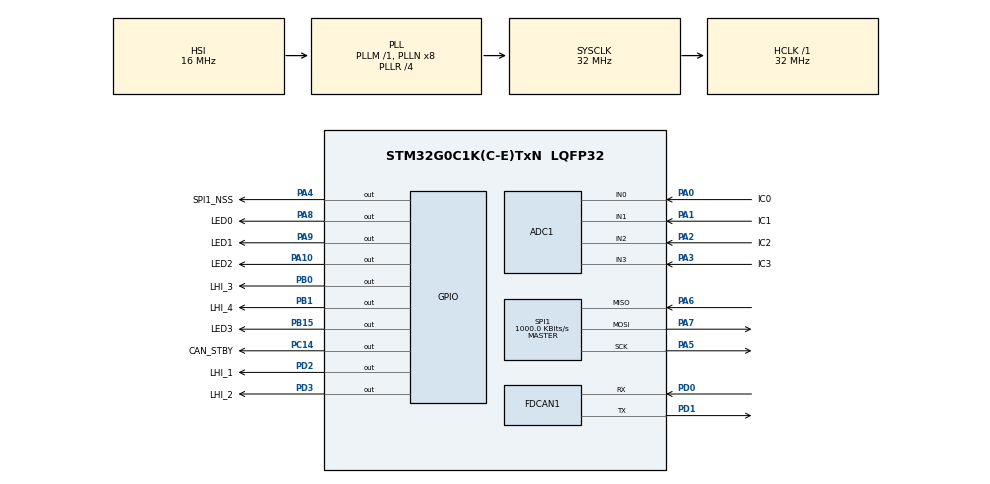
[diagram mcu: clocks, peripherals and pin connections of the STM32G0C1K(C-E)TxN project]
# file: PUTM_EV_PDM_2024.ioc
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ADC1.Channel-0\#ChannelRegularConversion=ADC_CHANNEL_0
ADC1.Channel-1\#ChannelRegularConversion=ADC_CHANNEL_1
ADC1.Channel-2\#ChannelRegularConversion=ADC_CHANNEL_2
ADC1.Channel-3\#ChannelRegularConversion=ADC_CHANNEL_3
ADC1.ClockPrescaler=ADC_CLOCK_ASYNC_DIV8
ADC1.ContinuousConvMode=ENABLE
ADC1.DMAContinuousRequests=ENABLE
ADC1.NbrOfConversion=4
ADC1.NbrOfConversionFlag=1
ADC1.Rank-0\#ChannelRegularConversion=1
ADC1.Rank-1\#ChannelRegularConversion=2
ADC1.Rank-2\#ChannelRegularConversion=3
ADC1.Rank-3\#ChannelRegularConversion=4
ADC1.SamplingTime-0\#ChannelRegularConversion=ADC_SAMPLINGTIME_COMMON_1
ADC1.SamplingTime-1\#ChannelRegularConversion=ADC_SAMPLINGTIME_COMMON_1
ADC1.SamplingTime-2\#ChannelRegularConversion=ADC_SAMPLINGTIME_COMMON_1
ADC1.SamplingTime-3\#ChannelRegularConversion=ADC_SAMPLINGTIME_COMMON_1
ADC1.SamplingTimeCommon1=ADC_SAMPLETIME_79CYCLES_5
ADC1.SamplingTimeCommon2=ADC_SAMPLETIME_19CYCLES_5
ADC1.SelectedChannel=ADC_CHANNEL_0|ADC_CHANNEL_1|ADC_CHANNEL_2|ADC_CHANNEL_3
ADC1.master=1
Dma.ADC1.0.Direction=DMA_PERIPH_TO_MEMORY
Dma.ADC1.0.EventEnable=DISABLE
Dma.ADC1.0.Instance=DMA1_Channel1
Dma.ADC1.0.MemDataAlignment=DMA_MDATAALIGN_HALFWORD
Dma.ADC1.0.MemInc=DMA_MINC_ENABLE
Dma.ADC1.0.Mode=DMA_CIRCULAR
Dma.ADC1.0.PeriphDataAlignment=DMA_PDATAALIGN_HALFWORD
Dma.ADC1.0.PeriphInc=DMA_PINC_DISABLE
Dma.ADC1.0.Polarity=HAL_DMAMUX_REQ_GEN_RISING
Dma.ADC1.0.Priority=DMA_PRIORITY_LOW
Dma.ADC1.0.RequestNumber=1
Dma.ADC1.0.SignalID=NONE
Dma.ADC1.0.SyncEnable=DISABLE
Dma.ADC1.0.SyncPolarity=HAL_DMAMUX_SYNC_NO_EVENT
Dma.ADC1.0.SyncRequestNumber=1
Dma.ADC1.0.SyncSignalID=NONE
Dma.Request0=ADC1
FDCAN1.CalculateBaudRateNominal=1000000
FDCAN1.CalculateTimeBitNominal=1000
FDCAN1.CalculateTimeQuantumNominal=62.5
FDCAN1.NominalPrescaler=2
FDCAN1.NominalTimeSeg1=11
FDCAN1.NominalTimeSeg2=4
Mcu.Family=STM32G0
Mcu.Name=STM32G0C1K(C-E)TxN
Mcu.Package=LQFP32
NVIC.DMA1_Channel1_IRQn=true\:0\:0\:false\:false\:true\:false\:true\:true
NVIC.TIM16_FDCAN_IT0_IRQn=true\:0\:0\:false\:false\:true\:true\:true\:true
NVIC.TIM17_FDCAN_IT1_IRQn=true\:0\:0\:false\:false\:true\:true\:true\:true
NVIC.TIM1_BRK_UP_TRG_COM_IRQn=true\:3\:0\:false\:false\:true\:false\:true\:true
NVIC.TimeBase=TIM1_BRK_UP_TRG_COM_IRQn
NVIC.TimeBaseIP=TIM1
PA0.GPIO_Label=IC0
PA0.Mode=IN0
PA0.Signal=ADC1_IN0
PA1.GPIO_Label=IC1
PA1.Mode=IN1
PA1.Signal=ADC1_IN1
PA10.GPIO_Label=LED2
PA10.Signal=GPIO_Output
PA13.Mode=Serial_Wire
PA13.Signal=SYS_SWDIO
PA14-BOOT0.Mode=Serial_Wire
PA14-BOOT0.Signal=SYS_SWCLK
PA2.GPIO_Label=IC2
PA2.Mode=IN2
PA2.Signal=ADC1_IN2
PA3.GPIO_Label=IC3
PA3.Mode=IN3
PA3.Signal=ADC1_IN3
PA4.GPIO_Label=SPI1_NSS
PA4.PinState=GPIO_PIN_SET
PA4.Signal=GPIO_Output
PA5.Mode=Full_Duplex_Master
PA5.Signal=SPI1_SCK
PA6.Mode=Full_Duplex_Master
PA6.Signal=SPI1_MISO
PA7.Mode=Full_Duplex_Master
PA7.Signal=SPI1_MOSI
PA8.GPIO_Label=LED0
PA8.Signal=GPIO_Output
PA9.GPIO_Label=LED1
PA9.Signal=GPIO_Output
PB0.GPIO_Label=LHI_3
PB0.Signal=GPIO_Output
PB1.GPIO_Label=LHI_4
PB1.Signal=GPIO_Output
PB15.GPIO_Label=LED3
PB15.Signal=GPIO_Output
PC14-OSC32_IN\ (PC14).GPIO_Label=CAN_STBY
PC14-OSC32_IN\ (PC14).PinState=GPIO_PIN_RESET
PC14-OSC32_IN\ (PC14).Signal=GPIO_Output
PD0.GPIO_Speed=GPIO_SPEED_FREQ_VERY_HIGH
PD0.Mode=FDCAN_Activate
PD0.PinState=GPIO_PIN_RESET
PD0.Signal=FDCAN1_RX
PD1.GPIO_Speed=GPIO_SPEED_FREQ_VERY_HIGH
PD1.Mode=FDCAN_Activate
PD1.Signal=FDCAN1_TX
PD2.GPIO_Label=LHI_1
PD2.Signal=GPIO_Output
PD3.GPIO_Label=LHI_2
PD3.Signal=GPIO_Output
ProjectManager.HeapSize=0x200
ProjectManager.StackSize=0x400
ProjectManager.TargetToolchain=CMake
RCC.ADCFreq_Value=32000000
RCC.AHBFreq_Value=32000000
RCC.CortexFreq_Value=32000000
RCC.EXTERNAL_CLOCK_VALUE=48000
RCC.HCLKFreq_Value=32000000
RCC.HSE_VALUE=8000000
RCC.HSI48_VALUE=48000000
RCC.HSI_VALUE=16000000
RCC.LSE_VALUE=32768
RCC.PLLP=RCC_PLLP_DIV4
RCC.PLLR=RCC_PLLR_DIV4
RCC.SYSCLKFreq_VALUE=32000000
RCC.SYSCLKSource=RCC_SYSCLKSOURCE_PLLCLK
RCC.USBFreq_Value=48000000
RCC.VCOOutputFreq_Value=128000000
SPI1.BaudRatePrescaler=SPI_BAUDRATEPRESCALER_32
SPI1.CLKPhase=SPI_PHASE_2EDGE
SPI1.CalculateBaudRate=1000.0 KBits/s
SPI1.DataSize=SPI_DATASIZE_8BIT
SPI1.Direction=SPI_DIRECTION_2LINES
SPI1.Mode=SPI_MODE_MASTER
SPI1.VirtualType=VM_MASTER
VP_SYS_VS_DBSignals.Mode=DisableDeadBatterySignals
VP_SYS_VS_tim1.Mode=TIM1
board=custom

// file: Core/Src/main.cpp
/* USER CODE BEGIN Header */
/**
 ******************************************************************************
 * @file           : main.c
 * @brief          : Main program body
 ******************************************************************************
 * @attention
 *
 * Copyright (c) 2024 STMicroelectronics.
 * All rights reserved.
 *
 * This software is licensed under terms that can be found in the LICENSE file
 * in the root directory of this software component.
 * If no LICENSE file comes with this software, it is provided AS-IS.
 *
 ******************************************************************************
 */

/* USER CODE END Header */
#include "main.h"
#include "adc.h"
#include "dma.h"
#include "fdcan.h"
#include "gpio.h"
#include "spi.h"

/* USER CODE BEGIN Includes */
#include "BTS72220.hpp"
#include "PUTM_CAN_M.h"
#include "can_driver.hpp"
#include "pdu.hpp"

#include <algorithm>
#include <array>
#include <span>

/* USER CODE END Includes */

/* USER CODE BEGIN PD */
constexpr uint8_t ADC_BUF_SIZE{4};
constexpr uint32_t __VREFANALOG_VOLTAGE__{3300};

/* USER CODE END PD */

/* USER CODE BEGIN PV */

std::array<uint16_t, ADC_BUF_SIZE>
adc_to_mV(std::span<volatile uint16_t, ADC_BUF_SIZE> adc_buffer) {
  std::array<uint16_t, ADC_BUF_SIZE> U_mV{};
  for (size_t ic{}; ic < ADC_BUF_SIZE; ic++) {
    U_mV.at(ic) = __HAL_ADC_CALC_DATA_TO_VOLTAGE(
        __VREFANALOG_VOLTAGE__, adc_buffer[ic], ADC_RESOLUTION12b);
  }
  return U_mV;
}

volatile bool rtd_status{};

volatile Temperature::Values inv_temperature_values{};
volatile Temperature::Values motor_temperature_values{};

/* USER CODE END PV */

/* Private function prototypes
 * -----------------------------------------------*/
void SystemClock_Config(void);

/* Private user code
 * ---------------------------------------------------------*/

int main(void) {

  /* MCU
   * Configuration--------------------------------------------------------*/

  /* Reset of all peripherals, Initializes the Flash interface and the
   * Systick.
   */
  HAL_Init();

  /* Configure the system clock */
  SystemClock_Config();

  /* Initialize all configured peripherals */
  MX_GPIO_Init();
  MX_DMA_Init();
  MX_ADC1_Init();
  MX_FDCAN1_Init();
  MX_SPI1_Init();
  /* USER CODE BEGIN 2 */

  putm_ev_can::CanDriver can_m;

  if (!can_m.Init(&hfdcan1)) {
    Error_Handler();
  }

  can_m.RegisterCallback<PUTM_CAN_M_pc_main_data_t>(
      PUTM_CAN_M_PC_MAIN_DATA_FRAME_ID,
      [](const PUTM_CAN_M_pc_main_data_t &pc_main_data) {
        rtd_status = pc_main_data.rtd;
      });

  can_m.RegisterCallback<PUTM_CAN_M_pc_temperature_data_t>(
      PUTM_CAN_M_PC_TEMPERATURE_DATA_FRAME_ID,
      [](const PUTM_CAN_M_pc_temperature_data_t &pc_temperature_data) {
        inv_temperature_values.front_left =
            pc_temperature_data.front_left_inverter_temperature;
        inv_temperature_values.front_right =
            pc_temperature_data.front_right_inverter_temperature;
        inv_temperature_values.rear_left =
            pc_temperature_data.rear_left_inverter_temperature;
        inv_temperature_values.rear_right =
            pc_temperature_data.rear_right_inverter_temperature;

        motor_temperature_values.front_left =
            pc_temperature_data.front_left_motor_temperature;
        motor_temperature_values.front_right =
            pc_temperature_data.front_right_motor_temperature;
        motor_temperature_values.rear_left =
            pc_temperature_data.rear_left_motor_temperature;
        motor_temperature_values.rear_right =
            pc_temperature_data.rear_right_motor_temperature;
      });

  constexpr uint32_t CAN_PDU_DATA_PERIOD{200};
  constexpr uint32_t CAN_PDU_CHANNEL_PERIOD{40};

  uint32_t can_pdu_data_tick{};
  uint32_t can_pdu_channel_tick{};

  constexpr uint8_t INV_MIN_TEMP{30};
  constexpr uint8_t INV_MAX_TEMP{40};
  constexpr uint8_t MOTOR_MIN_TEMP{30};
  constexpr uint8_t MOTOR_MAX_TEMP{40};

  constexpr uint16_t K_ILIS_13_5{2520};
  constexpr uint16_t K_ILIS_5_5{1900};

  constexpr std::array<std::array<System, BTS::Ic::CHANNEL_COUNT>,
                       Pdu::IC_COUNT>
      SYSTEM_DATA{{{{{Sys_name::INV2, 5000, K_ILIS_5_5},
                     {Sys_name::INV1, 3000, K_ILIS_13_5},
                     {Sys_name::RBOX_DIAG_BRAKE_L, 5000, K_ILIS_13_5},
                     {Sys_name::TSAL_HV, 2000, K_ILIS_5_5}}},

                   {{{Sys_name::DASH, 3000, K_ILIS_5_5},
                     {Sys_name::SDC_ASMS, 1000, K_ILIS_13_5},
                     {Sys_name::BRAKE_IR_AIR, 5000, K_ILIS_13_5},
                     {Sys_name::FBOX, 5000, K_ILIS_5_5}}},

                   {{{Sys_name::PC3, 4000, K_ILIS_5_5},
                     {Sys_name::PC2, 5000, K_ILIS_13_5},
                     {Sys_name::PC1, 5000, K_ILIS_13_5},
                     {Sys_name::PC0, 4000, K_ILIS_5_5}}},

                   {{{Sys_name::FAN2, 5000, K_ILIS_5_5},
                     {Sys_name::PUMP2, 5000, K_ILIS_13_5},
                     {Sys_name::PUMP1, 5000, K_ILIS_13_5},
                     {Sys_name::FAN1, 5000, K_ILIS_5_5}}}}};

  const std::array<Led, Pdu::IC_COUNT> LEDS{{{LED3_GPIO_Port, LED3_Pin},
                                             {LED0_GPIO_Port, LED0_Pin},
                                             {LED1_GPIO_Port, LED1_Pin},
                                             {LED2_GPIO_Port, LED2_Pin}}};

  static Pdu pdu{LEDS,
                 SYSTEM_DATA,
                 {INV_MIN_TEMP, INV_MAX_TEMP},
                 {MOTOR_MIN_TEMP, MOTOR_MAX_TEMP}};

  bool local_rtd{};
  Temperature::Values local_inv, local_motor;
  bool after_first_loop{false};

  pdu.init_chain();
  HAL_Delay(1);

  static volatile uint16_t adc_buffer[ADC_BUF_SIZE];
  HAL_ADC_Start_DMA(&hadc1, (uint32_t *)adc_buffer, ADC_BUF_SIZE);

  pdu.start_chain();

  /* USER CODE END 2 */

  /* Infinite loop */
  /* USER CODE BEGIN WHILE */
    uint32_t tick_now{HAL_GetTick()};

    pdu.update_chain_errors();

    for (int ch{0}; ch < BTS::Ic::CHANNEL_COUNT; ch++) {
      pdu.set_channel_sense(ch);
      HAL_Delay(1);
      pdu.update_channel_currents(ch, adc_to_mV(adc_buffer), tick_now);
    }

    // Copy data received from CAN
    __disable_irq();
    local_rtd = rtd_status;
    local_inv.front_left = inv_temperature_values.front_left;
    local_inv.front_right = inv_temperature_values.front_right;
    local_inv.rear_left = inv_temperature_values.rear_left;
    local_inv.rear_right = inv_temperature_values.rear_right;
    local_motor.front_left = motor_temperature_values.front_left;
    local_motor.front_right = motor_temperature_values.front_right;
    local_motor.rear_left = motor_temperature_values.rear_left;
    local_motor.rear_right = motor_temperature_values.rear_right;
    __enable_irq();
    pdu.update_fans(local_rtd, local_inv, local_motor);

    if (after_first_loop)
      pdu.handle_overcurrent(tick_now);
    pdu.update_leds(tick_now);

    if (tick_now - can_pdu_channel_tick > CAN_PDU_CHANNEL_PERIOD) {
      can_m.Send(PUTM_CAN_M_PDU_CHANNNEL_FRAME_ID, pdu.get_can_pdu_channel_t());
      can_pdu_channel_tick = tick_now;
    }
    if (tick_now - can_pdu_data_tick > CAN_PDU_DATA_PERIOD) {
      can_m.Send(PUTM_CAN_M_PDU_DATA_1_FRAME_ID, pdu.get_can_pdu_data_1());
      can_m.Send(PUTM_CAN_M_PDU_DATA_2_FRAME_ID, pdu.get_can_pdu_data_2());
      can_pdu_data_tick = tick_now;
    }

    after_first_loop = true;

    /* USER CODE END WHILE */

  }
}

void SystemClock_Config(void) {
  RCC_OscInitTypeDef RCC_OscInitStruct = {0};
  RCC_ClkInitTypeDef RCC_ClkInitStruct = {0};

  /** Configure the main internal regulator output voltage
   */
  HAL_PWREx_ControlVoltageScaling(PWR_REGULATOR_VOLTAGE_SCALE1);

  /** Initializes the RCC Oscillators according to the specified parameters
   * in the RCC_OscInitTypeDef structure.
   */
  RCC_OscInitStruct.OscillatorType = RCC_OSCILLATORTYPE_HSI;
  RCC_OscInitStruct.HSIState = RCC_HSI_ON;
  RCC_OscInitStruct.HSIDiv = RCC_HSI_DIV1;
  RCC_OscInitStruct.HSICalibrationValue = RCC_HSICALIBRATION_DEFAULT;
  RCC_OscInitStruct.PLL.PLLState = RCC_PLL_ON;
  RCC_OscInitStruct.PLL.PLLSource = RCC_PLLSOURCE_HSI;
  RCC_OscInitStruct.PLL.PLLM = RCC_PLLM_DIV1;
  RCC_OscInitStruct.PLL.PLLN = 8;
  RCC_OscInitStruct.PLL.PLLP = RCC_PLLP_DIV4;
  RCC_OscInitStruct.PLL.PLLQ = RCC_PLLQ_DIV2;
  RCC_OscInitStruct.PLL.PLLR = RCC_PLLR_DIV4;
  if (HAL_RCC_OscConfig(&RCC_OscInitStruct) != HAL_OK) {
    Error_Handler();
  }

  /** Initializes the CPU, AHB and APB buses clocks
   */
  RCC_ClkInitStruct.ClockType =
      RCC_CLOCKTYPE_HCLK | RCC_CLOCKTYPE_SYSCLK | RCC_CLOCKTYPE_PCLK1;
  RCC_ClkInitStruct.SYSCLKSource = RCC_SYSCLKSOURCE_PLLCLK;
  RCC_ClkInitStruct.AHBCLKDivider = RCC_SYSCLK_DIV1;
  RCC_ClkInitStruct.APB1CLKDivider = RCC_HCLK_DIV1;

  if (HAL_RCC_ClockConfig(&RCC_ClkInitStruct, FLASH_LATENCY_1) != HAL_OK) {
    Error_Handler();
  }
}

void HAL_TIM_PeriodElapsedCallback(TIM_HandleTypeDef *htim) {
  if (htim->Instance == TIM1) {
    HAL_IncTick();
  }
}

void Error_Handler(void) {
  /* USER CODE BEGIN Error_Handler_Debug */
  /* User can add his own implementation to report the HAL error return state
   */
  __disable_irq();
  while (1) {
  }
  /* USER CODE END Error_Handler_Debug */
}

#ifdef USE_FULL_ASSERT
/**
 * @brief  Reports the name of the source file and the source line number
 *         where the assert_param error has occurred.
 * @param  file: pointer to the source file name
 * @param  line: assert_param error line source number
 * @retval None
 */
void assert_failed(uint8_t *file, uint32_t line) {
  /* USER CODE BEGIN 6 */
  /* User can add his own implementation to report the file name and line
     number, ex: printf("Wrong parameters value: file %s on line %d\r\n",
     file, line) */
  /* USER CODE END 6 */
}
#endif /* USE_FULL_ASSERT */
